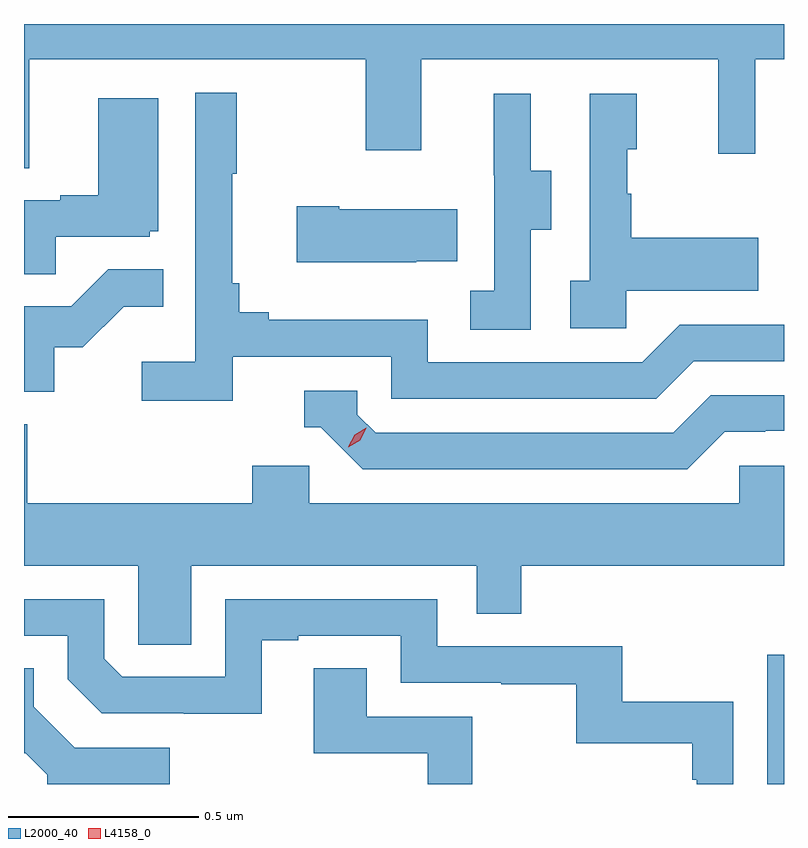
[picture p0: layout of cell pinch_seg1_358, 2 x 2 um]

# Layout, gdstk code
import gdstk
lib = gdstk.Library(unit=1e-6, precision=1e-09)
def R(c, l, rs):  # rectangles x0, y0, x1, y1
    for r in rs: c.add(gdstk.rectangle(r[:2], r[2:], *l))
def P(c, l, *ps):  # polygons
    for p in ps: c.add(gdstk.Polygon(p, *l))
L2000_40 = (2000, 40)
L4158_0 = (4158, 0)

pinch_seg1_358 = lib.new_cell('pinch_seg1_358')
R(pinch_seg1_358, L2000_40, [(959.423,548.493,959.467,548.833)])
P(pinch_seg1_358, L2000_40, [(957.481,550.4),(958.366,550.4),(958.366,550.161),(958.513,550.161),(958.513,550.4),(959.294,550.4),(959.294,550.152),(959.391,550.152),(959.391,550.4),(959.467,550.4),(959.467,550.493),(957.467,550.493),(957.467,550.114),(957.481,550.114)],
  [(958.016,549.618),(958.434,549.618),(958.434,549.507),(959.131,549.507),(959.23,549.606),(959.467,549.606),(959.467,549.702),(959.193,549.702),(959.094,549.603),(958.53,549.603),(958.53,549.715),(958.111,549.715),(958.111,549.734),(958.034,549.734),(958.034,549.811),(958.015,549.811),(958.015,550.099),(958.027,550.099),(958.027,550.312),(957.918,550.312),(957.918,549.604),(957.777,549.604),(957.777,549.502),(958.016,549.502)],
  [(959.052,549.791),(959.399,549.791),(959.399,549.931),(959.065,549.931),(959.065,550.046),(959.055,550.046),(959.055,550.164),(959.08,550.164),(959.08,550.309),(958.956,550.309),(958.956,549.818),(958.905,549.818),(958.905,549.693),(959.052,549.693)],
  [(958.8,549.952),(958.855,549.952),(958.855,550.107),(958.801,550.107),(958.801,550.309),(958.703,550.309),(958.703,550.095),(958.704,550.095),(958.704,549.791),(958.641,549.791),(958.641,549.688),(958.8,549.688)],
  [(957.551,549.933),(957.798,549.933),(957.798,549.948),(957.82,549.948),(957.82,550.297),(957.662,550.297),(957.662,550.042),(957.563,550.042),(957.563,550.029),(957.467,550.029),(957.467,549.835),(957.551,549.835)],
  [(958.499,549.869),(958.607,549.869),(958.607,550.006),(958.297,550.006),(958.297,550.014),(958.185,550.014),(958.185,549.866),(958.499,549.866)],
  [(957.546,549.642),(957.622,549.642),(957.729,549.749),(957.833,549.749),(957.833,549.848),(957.689,549.848),(957.591,549.75),(957.467,549.75),(957.467,549.525),(957.546,549.525)],
  [(959.311,549.42),(959.418,549.42),(959.418,549.423),(959.467,549.423),(959.467,549.516),(959.274,549.516),(959.175,549.417),(958.392,549.417),(958.344,549.465),(958.344,549.528),(958.205,549.528),(958.205,549.432),(958.248,549.432),(958.359,549.321),(959.212,549.321)],
  [(957.907,549.068),(958.659,549.068),(958.659,548.941),(958.775,548.941),(958.775,549.068),(959.467,549.068),(959.467,549.33),(959.349,549.33),(959.349,549.232),(958.218,549.232),(958.218,549.33),(958.067,549.33),(958.067,549.232),(957.476,549.232),(957.476,549.44),(957.467,549.44),(957.467,549.068),(957.768,549.068),(957.768,548.86),(957.907,548.86)],
  [(959.334,548.71),(959.041,548.71),(959.041,548.856),(958.554,548.856),(958.554,548.979),(957.996,548.979),(957.996,548.775),(957.726,548.775),(957.678,548.823),(957.678,548.979),(957.467,548.979),(957.467,548.883),(957.582,548.883),(957.582,548.769),(957.672,548.679),(957.888,548.679),(957.888,548.678),(958.093,548.678),(958.093,548.871),(958.189,548.871),(958.189,548.883),(958.458,548.883),(958.458,548.76),(958.723,548.76),(958.723,548.755),(958.92,548.755),(958.92,548.6),(959.225,548.6),(959.225,548.504),(959.238,548.504),(959.238,548.493),(959.334,548.493)],
  [(958.646,548.67),(958.369,548.67),(958.369,548.798),(958.229,548.798),(958.229,548.574),(958.53,548.574),(958.53,548.493),(958.646,548.493)],
  [(957.85,548.589),(957.6,548.589),(957.493,548.696),(957.493,548.798),(957.467,548.798),(957.467,548.574),(957.471,548.574),(957.528,548.517),(957.528,548.493),(957.85,548.493)])
P(pinch_seg1_358, L4158_0, [(958.32,549.379),(958.32,549.38),(958.337,549.412),(958.368,549.431),(958.368,549.431),(958.368,549.431),(958.352,549.398),(958.32,549.379)])

lib.write_gds('pinch_seg1_358.gds')
